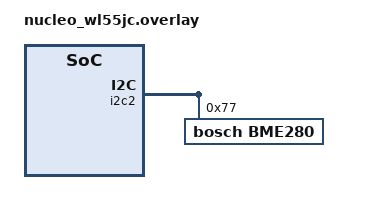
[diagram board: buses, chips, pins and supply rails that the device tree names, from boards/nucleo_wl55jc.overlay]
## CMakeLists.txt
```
cmake_minimum_required(VERSION 3.20.0)
find_package(Zephyr REQUIRED HINTS $ENV{ZEPHYR_BASE})
project(bme280_nucleo_wl55jc)

target_sources(app PRIVATE src/main.c)
```

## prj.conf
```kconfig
CONFIG_GPIO=y
CONFIG_I2C=y
CONFIG_SENSOR=y
CONFIG_SENSOR_ASYNC_API=y
CONFIG_BME280=y
CONFIG_LOG=y
CONFIG_LOG_DEFAULT_LEVEL=3
# Enable console over UART (default)
CONFIG_UART_CONSOLE=y
```

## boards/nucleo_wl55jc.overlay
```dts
/* Overlay to enable I2C bus and bind BME280 on the Nucleo WL55JC1 board.
 *
 * Uses i2c2, which is already configured on this board.
 * If your module uses address 0x77 instead of 0x76, change reg = <0x77>.
 */

&i2c2 {
    bme280@77 {
        compatible = "bosch,bme280";
        reg = <0x77>;
        status = "okay";
    };
};
```

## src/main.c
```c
/*
 * Simple BME280 reader for Nucleo WL55JC1 using Zephyr sensor API.
 * Reads temperature, pressure and humidity and prints to console every second.
 */

#include <zephyr/kernel.h>
#include <zephyr/device.h>
#include <zephyr/devicetree.h>
#include <zephyr/drivers/sensor.h>
#include <zephyr/drivers/sensor_data_types.h>
#include <zephyr/rtio/rtio.h>
#include <zephyr/dsp/print_format.h>
#include <zephyr/logging/log.h>

LOG_MODULE_REGISTER(bme280_nucleo, LOG_LEVEL_INF);

/* Get a device structure from a devicetree node with compatible "bosch,bme280" */
const struct device *const dev = DEVICE_DT_GET_ANY(bosch_bme280);

SENSOR_DT_READ_IODEV(iodev, DT_COMPAT_GET_ANY_STATUS_OKAY(bosch_bme280),
        {SENSOR_CHAN_AMBIENT_TEMP, 0},
        {SENSOR_CHAN_HUMIDITY, 0},
        {SENSOR_CHAN_PRESS, 0});

RTIO_DEFINE(ctx, 1, 1);

static const struct device *check_bme280_device(void)
{
    if (dev == NULL) {
        LOG_INF("Error: no device found. Ensure the BME280 is described in devicetree overlay and driver is enabled.");
        return NULL;
    }

    if (!device_is_ready(dev)) {
        LOG_INF("Error: Device '%s' is not ready; check driver logs.", dev->name);
        return NULL;
    }

    LOG_INF("Found device '%s', reading sensor data...", dev->name);
    return dev;
}

int main(void)
{
    const struct device *dev = check_bme280_device();

    if (dev == NULL) {
        return 0;
    }

    while (1) {
        uint8_t buf[128];
        int rc = sensor_read(&iodev, &ctx, buf, sizeof(buf));

        if (rc != 0) {
            LOG_ERR("sensor_read() failed: %d", rc);
            k_sleep(K_SECONDS(1));
            continue;
        }

        const struct sensor_decoder_api *decoder;
        rc = sensor_get_decoder(dev, &decoder);
        if (rc != 0) {
            LOG_ERR("sensor_get_decoder() failed: %d", rc);
            k_sleep(K_SECONDS(1));
            continue;
        }

        uint32_t temp_fit = 0;
        struct sensor_q31_data temp_data = {0};
        decoder->decode(buf,
                        (struct sensor_chan_spec){SENSOR_CHAN_AMBIENT_TEMP, 0},
                        &temp_fit, 1, &temp_data);

        uint32_t press_fit = 0;
        struct sensor_q31_data press_data = {0};
        decoder->decode(buf,
                        (struct sensor_chan_spec){SENSOR_CHAN_PRESS, 0},
                        &press_fit, 1, &press_data);

        uint32_t hum_fit = 0;
        struct sensor_q31_data hum_data = {0};
        decoder->decode(buf,
                        (struct sensor_chan_spec){SENSOR_CHAN_HUMIDITY, 0},
                        &hum_fit, 1, &hum_data);

        /* Print using LOG_INF so output goes to console */
        LOG_INF("Temp: %s%d.%d C; Pressure: %s%d.%d Pa; Humidity: %s%d.%d %%",
                PRIq_arg(temp_data.readings[0].temperature, 6, temp_data.shift),
                PRIq_arg(press_data.readings[0].pressure, 6, press_data.shift),
                PRIq_arg(hum_data.readings[0].humidity, 6, hum_data.shift));

        k_sleep(K_SECONDS(1));
    }

    return 0;
}
```
